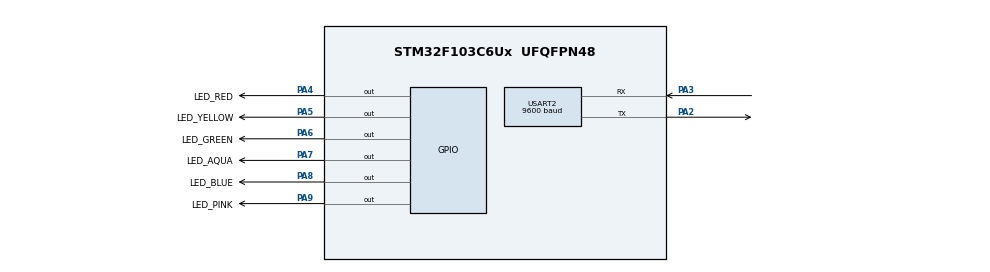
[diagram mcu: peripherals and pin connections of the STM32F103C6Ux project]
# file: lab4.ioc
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Mcu.Family=STM32F1
Mcu.Name=STM32F103C6Ux
Mcu.Package=UFQFPN48
NVIC.PriorityGroup=NVIC_PRIORITYGROUP_4
NVIC.TIM2_IRQn=true\:0\:0\:false\:false\:true\:true\:true
NVIC.USART2_IRQn=true\:0\:0\:false\:false\:true\:true\:true
PA2.Mode=Asynchronous
PA2.Signal=USART2_TX
PA3.GPIO_PuPd=GPIO_PULLDOWN
PA3.Mode=Asynchronous
PA3.Signal=USART2_RX
PA4.GPIO_Label=LED_RED
PA4.GPIO_PuPd=GPIO_PULLUP
PA4.Signal=GPIO_Output
PA5.GPIO_Label=LED_YELLOW
PA5.GPIO_PuPd=GPIO_PULLUP
PA5.Signal=GPIO_Output
PA6.GPIO_Label=LED_GREEN
PA6.GPIO_PuPd=GPIO_PULLUP
PA6.Signal=GPIO_Output
PA7.GPIO_Label=LED_AQUA
PA7.GPIO_PuPd=GPIO_PULLUP
PA7.Signal=GPIO_Output
PA8.GPIO_Label=LED_BLUE
PA8.GPIO_PuPd=GPIO_PULLUP
PA8.Signal=GPIO_Output
PA9.GPIO_Label=LED_PINK
PA9.GPIO_PuPd=GPIO_PULLUP
PA9.Signal=GPIO_Output
ProjectManager.HeapSize=0x200
ProjectManager.StackSize=0x400
ProjectManager.TargetToolchain=STM32CubeIDE
RCC.APB1Freq_Value=8000000
RCC.APB2Freq_Value=8000000
TIM2.Period=39999 
TIM2.Prescaler=1
USART2.BaudRate=9600
USART2.VirtualMode=VM_ASYNC
VP_SYS_VS_ND.Mode=No_Debug
VP_TIM2_VS_ClockSourceINT.Mode=Internal
board=custom

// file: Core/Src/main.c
/* USER CODE BEGIN Header */
/**
  ******************************************************************************
  * @file           : main.c
  * @brief          : Main program body
  ******************************************************************************
  * @attention
  *
  * <h2><center>&copy; Copyright (c) 2024 STMicroelectronics.
  * All rights reserved.</center></h2>
  *
  * This software component is licensed by ST under BSD 3-Clause license,
  * the "License"; You may not use this file except in compliance with the
  * License. You may obtain a copy of the License at:
  *                        opensource.org/licenses/BSD-3-Clause
  *
  ******************************************************************************
  */
/* USER CODE END Header */
#include "main.h"

/* USER CODE BEGIN Includes */
#include <stdio.h>
#include "scheduler.h"
#include "output.h"

/* USER CODE END Includes */

/* USER CODE BEGIN PTD */
void SCH_Update(void);
/* USER CODE END PTD */

TIM_HandleTypeDef htim2;

UART_HandleTypeDef huart2;

void SystemClock_Config(void);
static void MX_TIM2_Init(void);
static void MX_GPIO_Init(void);
static void MX_USART2_UART_Init(void);

/* USER CODE BEGIN 0 */
uint8_t temp = 0;

void HAL_UART_RxCpltCallback(UART_HandleTypeDef *huart) {
    if(huart->Instance == USART2) {
        HAL_UART_Receive_IT(&huart2, &temp, 1);
        HAL_UART_Transmit(&huart2, &temp, 1, 50);
    }
}

void timePrint(void) {
    char str[100];
    HAL_UART_Transmit(&huart2, (void*)str, sprintf(str, "%lu\r\n", HAL_GetTick()), 10);
}

/* USER CODE END 0 */

int main(void)
{

  /* MCU Configuration--------------------------------------------------------*/

  /* Reset of all peripherals, Initializes the Flash interface and the Systick. */
  HAL_Init();

  /* Configure the system clock */
  SystemClock_Config();

  /* Initialize all configured peripherals */
  MX_TIM2_Init();
  MX_GPIO_Init();
  MX_USART2_UART_Init();
  /* USER CODE BEGIN 2 */
  HAL_TIM_Base_Start_IT(&htim2);
  HAL_UART_Receive_IT(&huart2, &temp, 1);
  SCH_Init();

  /* USER CODE END 2 */

  /* Infinite loop */
  /* USER CODE BEGIN WHILE */

  SCH_AddTask(ledRedToggle, 1000, 0);
  SCH_AddTask(ledYellowToggle, 0, 500);
  SCH_AddTask(ledGreenToggle, 0, 1000);
  SCH_AddTask(ledAquaToggle, 0, 1500);
  SCH_AddTask(ledBlueToggle, 0, 2000);
  SCH_AddTask(ledPinkToggle, 0, 2500);
  SCH_AddTask(timePrint, 0, 10);
  SCH_AddTask(timePrint, 0, 500);

  while (1)
  {
    /* USER CODE END WHILE */
	  SCH_Dispatch();
  }
}

void SystemClock_Config(void)
{
  RCC_OscInitTypeDef RCC_OscInitStruct = {0};
  RCC_ClkInitTypeDef RCC_ClkInitStruct = {0};

  /** Initializes the RCC Oscillators according to the specified parameters
  * in the RCC_OscInitTypeDef structure.
  */
  RCC_OscInitStruct.OscillatorType = RCC_OSCILLATORTYPE_HSI;
  RCC_OscInitStruct.HSIState = RCC_HSI_ON;
  RCC_OscInitStruct.HSICalibrationValue = RCC_HSICALIBRATION_DEFAULT;
  RCC_OscInitStruct.PLL.PLLState = RCC_PLL_NONE;
  if (HAL_RCC_OscConfig(&RCC_OscInitStruct) != HAL_OK)
  {
    Error_Handler();
  }
  /** Initializes the CPU, AHB and APB buses clocks
  */
  RCC_ClkInitStruct.ClockType = RCC_CLOCKTYPE_HCLK|RCC_CLOCKTYPE_SYSCLK
                              |RCC_CLOCKTYPE_PCLK1|RCC_CLOCKTYPE_PCLK2;
  RCC_ClkInitStruct.SYSCLKSource = RCC_SYSCLKSOURCE_HSI;
  RCC_ClkInitStruct.AHBCLKDivider = RCC_SYSCLK_DIV1;
  RCC_ClkInitStruct.APB1CLKDivider = RCC_HCLK_DIV1;
  RCC_ClkInitStruct.APB2CLKDivider = RCC_HCLK_DIV1;

  if (HAL_RCC_ClockConfig(&RCC_ClkInitStruct, FLASH_LATENCY_0) != HAL_OK)
  {
    Error_Handler();
  }
}

static void MX_TIM2_Init(void)
{

  TIM_ClockConfigTypeDef sClockSourceConfig = {0};
  TIM_MasterConfigTypeDef sMasterConfig = {0};

  htim2.Instance = TIM2;
  htim2.Init.Prescaler = 7999;
  htim2.Init.CounterMode = TIM_COUNTERMODE_UP;
  htim2.Init.Period = 9;
  htim2.Init.ClockDivision = TIM_CLOCKDIVISION_DIV1;
  htim2.Init.AutoReloadPreload = TIM_AUTORELOAD_PRELOAD_DISABLE;
  if (HAL_TIM_Base_Init(&htim2) != HAL_OK)
  {
    Error_Handler();
  }
  sClockSourceConfig.ClockSource = TIM_CLOCKSOURCE_INTERNAL;
  if (HAL_TIM_ConfigClockSource(&htim2, &sClockSourceConfig) != HAL_OK)
  {
    Error_Handler();
  }
  sMasterConfig.MasterOutputTrigger = TIM_TRGO_RESET;
  sMasterConfig.MasterSlaveMode = TIM_MASTERSLAVEMODE_DISABLE;
  if (HAL_TIMEx_MasterConfigSynchronization(&htim2, &sMasterConfig) != HAL_OK)
  {
    Error_Handler();
  }

}

static void MX_USART2_UART_Init(void)
{

  huart2.Instance = USART2;
  huart2.Init.BaudRate = 9600;
  huart2.Init.WordLength = UART_WORDLENGTH_8B;
  huart2.Init.StopBits = UART_STOPBITS_1;
  huart2.Init.Parity = UART_PARITY_NONE;
  huart2.Init.Mode = UART_MODE_TX_RX;
  huart2.Init.HwFlowCtl = UART_HWCONTROL_NONE;
  huart2.Init.OverSampling = UART_OVERSAMPLING_16;
  if (HAL_UART_Init(&huart2) != HAL_OK)
  {
    Error_Handler();
  }

}

static void MX_GPIO_Init(void)
{
  GPIO_InitTypeDef GPIO_InitStruct = {0};

  /* GPIO Ports Clock Enable */
  __HAL_RCC_GPIOA_CLK_ENABLE();

  /*Configure GPIO pin Output Level */
  HAL_GPIO_WritePin(GPIOA, LED_RED_Pin|LED_YELLOW_Pin|LED_GREEN_Pin|LED_AQUA_Pin
                          |LED_BLUE_Pin|LED_PINK_Pin, GPIO_PIN_RESET);

  /*Configure GPIO pins : LED_RED_Pin LED_YELLOW_Pin LED_GREEN_Pin LED_AQUA_Pin
                           LED_BLUE_Pin LED_PINK_Pin */
  GPIO_InitStruct.Pin = LED_RED_Pin|LED_YELLOW_Pin|LED_GREEN_Pin|LED_AQUA_Pin
                          |LED_BLUE_Pin|LED_PINK_Pin;
  GPIO_InitStruct.Mode = GPIO_MODE_OUTPUT_PP;
  GPIO_InitStruct.Pull = GPIO_PULLUP;
  GPIO_InitStruct.Speed = GPIO_SPEED_FREQ_LOW;
  HAL_GPIO_Init(GPIOA, &GPIO_InitStruct);

}

/* USER CODE BEGIN 4 */
void HAL_TIM_PeriodElapsedCallback(TIM_HandleTypeDef *htim){
	if (htim->Instance == TIM2) {
	    SCH_Update();
	}

}
/* USER CODE END 4 */

void Error_Handler(void)
{
  __disable_irq();
  while (1)
  {
  }
}

/************************ (C) COPYRIGHT STMicroelectronics *****END OF FILE****/
